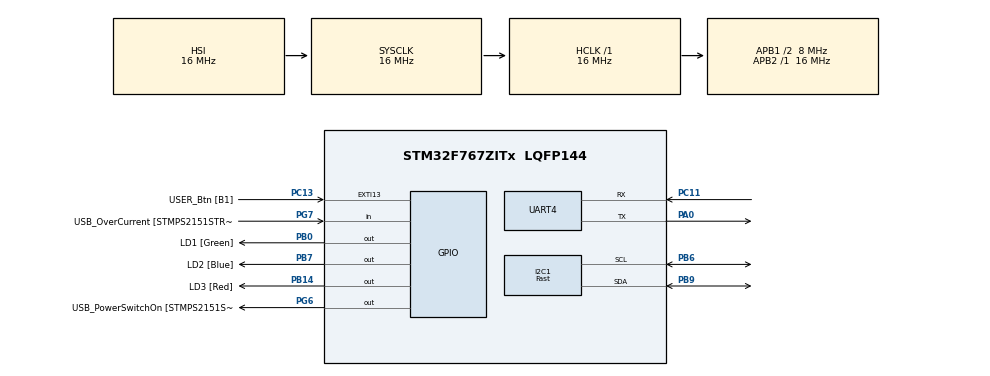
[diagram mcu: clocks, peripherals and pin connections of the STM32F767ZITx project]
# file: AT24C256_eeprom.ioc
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I2C1.I2C_Speed_Mode=I2C_Fast
I2C1.Timing=0x0000020B
Mcu.Family=STM32F7
Mcu.Name=STM32F767ZITx
Mcu.Package=LQFP144
NVIC.PriorityGroup=NVIC_PRIORITYGROUP_4
PA0/WKUP.Mode=Asynchronous
PA0/WKUP.Signal=UART4_TX
PA1.GPIO_Label=RMII_REF_CLK [LAN8742A-CZ-TR_REFCLK0]
PA1.Signal=ETH_REF_CLK
PA10.GPIO_Label=USB_ID
PA10.Signal=USB_OTG_FS_ID
PA11.GPIO_Label=USB_DM
PA11.Signal=USB_OTG_FS_DM
PA12.GPIO_Label=USB_DP
PA12.Signal=USB_OTG_FS_DP
PA13.GPIO_Label=TMS
PA13.Signal=SYS_JTMS-SWDIO
PA14.GPIO_Label=TCK
PA14.Signal=SYS_JTCK-SWCLK
PA2.GPIO_Label=RMII_MDIO [LAN8742A-CZ-TR_MDIO]
PA2.Signal=ETH_MDIO
PA7.GPIO_Label=RMII_CRS_DV [LAN8742A-CZ-TR_CRS_DV]
PA7.Signal=ETH_CRS_DV
PA8.GPIO_Label=USB_SOF [TP1]
PA8.Signal=USB_OTG_FS_SOF
PA9.GPIO_Label=USB_VBUS
PA9.Signal=USB_OTG_FS_VBUS
PB0.GPIO_Label=LD1 [Green]
PB0.Signal=GPIO_Output
PB13.GPIO_Label=RMII_TXD1 [LAN8742A-CZ-TR_TXD1]
PB13.Signal=ETH_TXD1
PB14.GPIO_Label=LD3 [Red]
PB14.Signal=GPIO_Output
PB3.GPIO_Label=SW0
PB3.Signal=SYS_JTDO-SWO
PB6.Mode=I2C
PB6.Signal=I2C1_SCL
PB7.GPIO_Label=LD2 [Blue]
PB7.Signal=GPIO_Output
PB9.Mode=I2C
PB9.Signal=I2C1_SDA
PC1.GPIO_Label=RMII_MDC [LAN8742A-CZ-TR_MDC]
PC1.Signal=ETH_MDC
PC11.Mode=Asynchronous
PC11.Signal=UART4_RX
PC13.GPIO_Label=USER_Btn [B1]
PC13.Signal=GPXTI13
PC14/OSC32_IN.Signal=RCC_OSC32_IN
PC15/OSC32_OUT.Signal=RCC_OSC32_OUT
PC4.GPIO_Label=RMII_RXD0 [LAN8742A-CZ-TR_RXD0]
PC4.Signal=ETH_RXD0
PC5.GPIO_Label=RMII_RXD1 [LAN8742A-CZ-TR_RXD1]
PC5.Signal=ETH_RXD1
PD8.GPIO_Label=STLK_RX [STM32F103CBT6_PA3]
PD8.Signal=USART3_TX
PD9.GPIO_Label=STLK_TX [STM32F103CBT6_PA2]
PD9.Signal=USART3_RX
PG11.GPIO_Label=RMII_TX_EN [LAN8742A-CZ-TR_TXEN]
PG11.Signal=ETH_TX_EN
PG13.GPIO_Label=RMII_TXD0 [LAN8742A-CZ-TR_TXD0]
PG13.Signal=ETH_TXD0
PG6.GPIO_Label=USB_PowerSwitchOn [STMPS2151STR_EN]
PG6.Signal=GPIO_Output
PG7.GPIO_Label=USB_OverCurrent [STMPS2151STR_FAULT]
PG7.Signal=GPIO_Input
PH0/OSC_IN.GPIO_Label=MCO [STM32F103CBT6_PA8]
PH0/OSC_IN.Mode=HSE-External-Oscillator
PH0/OSC_IN.Signal=RCC_OSC_IN
PH1/OSC_OUT.Mode=HSE-External-Oscillator
PH1/OSC_OUT.Signal=RCC_OSC_OUT
ProjectManager.HeapSize=0x200
ProjectManager.StackSize=0x400
ProjectManager.TargetToolchain=STM32CubeIDE
RCC.48MHZClocksFreq_Value=24000000
RCC.AHBFreq_Value=16000000
RCC.APB1CLKDivider=RCC_HCLK_DIV2
RCC.APB1Freq_Value=8000000
RCC.APB1TimFreq_Value=16000000
RCC.APB2Freq_Value=16000000
RCC.APB2TimFreq_Value=16000000
RCC.CortexFreq_Value=16000000
RCC.HCLKFreq_Value=16000000
RCC.HSE_VALUE=16000000
RCC.HSI_VALUE=16000000
RCC.LSE_VALUE=32768
RCC.PLLMUL=RCC_PLL_MUL9
RCC.PRESCALERUSB=RCC_USBCLKSOURCE_PLL_DIV1_5
RCC.SYSCLKFreq_VALUE=16000000
RCC.SYSCLKSourceVirtual=RCC_SYSCLKSOURCE_PLLCLK
RCC.USBFreq_Value=96000000
RCC.VCOOutputFreq_Value=192000000
board=NUCLEO-F767ZI

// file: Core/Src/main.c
/* USER CODE BEGIN Header */
/**
  ******************************************************************************
  * @file           : main.c
  * @brief          : Main program body
  ******************************************************************************
  * @attention
  *
  * Copyright (c) 2024 STMicroelectronics.
  * All rights reserved.
  *
  * This software is licensed under terms that can be found in the LICENSE file
  * in the root directory of this software component.
  * If no LICENSE file comes with this software, it is provided AS-IS.
  *
  ******************************************************************************
  */
/* USER CODE END Header */
#include "main.h"

/* USER CODE BEGIN Includes */
#include "string.h"
#include "EEPROM.h"

/* USER CODE END Includes */

I2C_HandleTypeDef hi2c1;

UART_HandleTypeDef huart4;

void SystemClock_Config(void);
static void MX_GPIO_Init(void);
static void MX_I2C1_Init(void);
static void MX_UART4_Init(void);

/* USER CODE BEGIN 0 */
#define DEV_ADDR 0xa0
uint8_t dataw1[] = "hello world from EEPROM";
uint8_t dataw2[] = "This is the second string from EEPROM";
float dataw3 = 1234.5678;

uint8_t datar1[100];
uint8_t datar2[100];
float datar3;
char float_str[10];
/* USER CODE END 0 */

int main(void)
{

  /* MCU Configuration--------------------------------------------------------*/

  /* Reset of all peripherals, Initializes the Flash interface and the Systick. */
  HAL_Init();

  /* Configure the system clock */
  SystemClock_Config();

  /* Initialize all configured peripherals */
  MX_GPIO_Init();
  MX_I2C1_Init();
  MX_UART4_Init();
  /* USER CODE BEGIN 2 */

  for (int i=0; i<512; i++)
  {
	  EEPROM_PageErase(i);
  }

  EEPROM_Write(3, 0, dataw1, strlen((char *)dataw1));

  EEPROM_Write(5, 20, dataw2, strlen((char *)dataw2));

  EEPROM_Write_NUM (6, 0, dataw3);

  EEPROM_Read(3, 0, datar1, 50);

  EEPROM_Read(5, 15, datar2, 50);

  datar3 = EEPROM_Read_NUM (6, 0);

  /* USER CODE END 2 */

  /* Infinite loop */
  /* USER CODE BEGIN WHILE */
  while (1)
  {
	HAL_Delay(1000);
	HAL_GPIO_TogglePin(GPIOB, GPIO_PIN_7);

	int8_t message[20] = "test message";
	int8_t newline[2] = "\r\n";

	HAL_UART_Transmit(&huart4, &datar1, sizeof(datar1), 200);
	HAL_UART_Transmit(&huart4, &newline, sizeof(newline), 200);

	HAL_UART_Transmit(&huart4, &datar2, sizeof(datar2), 200);
	HAL_UART_Transmit(&huart4, &newline, sizeof(newline), 200);

	HAL_UART_Transmit(&huart4, &datar3, sizeof(datar3), 200);
	HAL_UART_Transmit(&huart4, &newline, sizeof(newline), 200);

	snprintf(&float_str, sizeof(float_str), "%f\r\n", datar3);

	HAL_UART_Transmit(&huart4, &float_str, sizeof(float_str), 200);
	HAL_UART_Transmit(&huart4, &newline, sizeof(newline), 200);

    /* USER CODE END WHILE */

  }
}

void SystemClock_Config(void)
{
  RCC_OscInitTypeDef RCC_OscInitStruct = {0};
  RCC_ClkInitTypeDef RCC_ClkInitStruct = {0};

  /** Configure the main internal regulator output voltage
  */
  __HAL_RCC_PWR_CLK_ENABLE();
  __HAL_PWR_VOLTAGESCALING_CONFIG(PWR_REGULATOR_VOLTAGE_SCALE3);

  /** Initializes the RCC Oscillators according to the specified parameters
  * in the RCC_OscInitTypeDef structure.
  */
  RCC_OscInitStruct.OscillatorType = RCC_OSCILLATORTYPE_HSI;
  RCC_OscInitStruct.HSIState = RCC_HSI_ON;
  RCC_OscInitStruct.HSICalibrationValue = RCC_HSICALIBRATION_DEFAULT;
  RCC_OscInitStruct.PLL.PLLState = RCC_PLL_NONE;
  if (HAL_RCC_OscConfig(&RCC_OscInitStruct) != HAL_OK)
  {
    Error_Handler();
  }

  /** Initializes the CPU, AHB and APB buses clocks
  */
  RCC_ClkInitStruct.ClockType = RCC_CLOCKTYPE_HCLK|RCC_CLOCKTYPE_SYSCLK
                              |RCC_CLOCKTYPE_PCLK1|RCC_CLOCKTYPE_PCLK2;
  RCC_ClkInitStruct.SYSCLKSource = RCC_SYSCLKSOURCE_HSI;
  RCC_ClkInitStruct.AHBCLKDivider = RCC_SYSCLK_DIV1;
  RCC_ClkInitStruct.APB1CLKDivider = RCC_HCLK_DIV2;
  RCC_ClkInitStruct.APB2CLKDivider = RCC_HCLK_DIV1;

  if (HAL_RCC_ClockConfig(&RCC_ClkInitStruct, FLASH_LATENCY_0) != HAL_OK)
  {
    Error_Handler();
  }
}

static void MX_I2C1_Init(void)
{

  hi2c1.Instance = I2C1;
  hi2c1.Init.Timing = 0x0000020B;
  hi2c1.Init.OwnAddress1 = 0;
  hi2c1.Init.AddressingMode = I2C_ADDRESSINGMODE_7BIT;
  hi2c1.Init.DualAddressMode = I2C_DUALADDRESS_DISABLE;
  hi2c1.Init.OwnAddress2 = 0;
  hi2c1.Init.OwnAddress2Masks = I2C_OA2_NOMASK;
  hi2c1.Init.GeneralCallMode = I2C_GENERALCALL_DISABLE;
  hi2c1.Init.NoStretchMode = I2C_NOSTRETCH_DISABLE;
  if (HAL_I2C_Init(&hi2c1) != HAL_OK)
  {
    Error_Handler();
  }

  /** Configure Analogue filter
  */
  if (HAL_I2CEx_ConfigAnalogFilter(&hi2c1, I2C_ANALOGFILTER_ENABLE) != HAL_OK)
  {
    Error_Handler();
  }

  /** Configure Digital filter
  */
  if (HAL_I2CEx_ConfigDigitalFilter(&hi2c1, 0) != HAL_OK)
  {
    Error_Handler();
  }

}

static void MX_UART4_Init(void)
{

  huart4.Instance = UART4;
  huart4.Init.BaudRate = 115200;
  huart4.Init.WordLength = UART_WORDLENGTH_8B;
  huart4.Init.StopBits = UART_STOPBITS_1;
  huart4.Init.Parity = UART_PARITY_NONE;
  huart4.Init.Mode = UART_MODE_TX_RX;
  huart4.Init.HwFlowCtl = UART_HWCONTROL_NONE;
  huart4.Init.OverSampling = UART_OVERSAMPLING_16;
  huart4.Init.OneBitSampling = UART_ONE_BIT_SAMPLE_DISABLE;
  huart4.AdvancedInit.AdvFeatureInit = UART_ADVFEATURE_NO_INIT;
  if (HAL_UART_Init(&huart4) != HAL_OK)
  {
    Error_Handler();
  }

}

static void MX_GPIO_Init(void)
{
  GPIO_InitTypeDef GPIO_InitStruct = {0};

  /* GPIO Ports Clock Enable */
  __HAL_RCC_GPIOC_CLK_ENABLE();
  __HAL_RCC_GPIOH_CLK_ENABLE();
  __HAL_RCC_GPIOA_CLK_ENABLE();
  __HAL_RCC_GPIOB_CLK_ENABLE();
  __HAL_RCC_GPIOD_CLK_ENABLE();
  __HAL_RCC_GPIOG_CLK_ENABLE();

  /*Configure GPIO pin Output Level */
  HAL_GPIO_WritePin(GPIOB, LD1_Pin|LD3_Pin|LD2_Pin, GPIO_PIN_RESET);

  /*Configure GPIO pin Output Level */
  HAL_GPIO_WritePin(USB_PowerSwitchOn_GPIO_Port, USB_PowerSwitchOn_Pin, GPIO_PIN_RESET);

  /*Configure GPIO pin : USER_Btn_Pin */
  GPIO_InitStruct.Pin = USER_Btn_Pin;
  GPIO_InitStruct.Mode = GPIO_MODE_IT_RISING;
  GPIO_InitStruct.Pull = GPIO_NOPULL;
  HAL_GPIO_Init(USER_Btn_GPIO_Port, &GPIO_InitStruct);

  /*Configure GPIO pins : RMII_MDC_Pin RMII_RXD0_Pin RMII_RXD1_Pin */
  GPIO_InitStruct.Pin = RMII_MDC_Pin|RMII_RXD0_Pin|RMII_RXD1_Pin;
  GPIO_InitStruct.Mode = GPIO_MODE_AF_PP;
  GPIO_InitStruct.Pull = GPIO_NOPULL;
  GPIO_InitStruct.Speed = GPIO_SPEED_FREQ_VERY_HIGH;
  GPIO_InitStruct.Alternate = GPIO_AF11_ETH;
  HAL_GPIO_Init(GPIOC, &GPIO_InitStruct);

  /*Configure GPIO pins : RMII_REF_CLK_Pin RMII_MDIO_Pin RMII_CRS_DV_Pin */
  GPIO_InitStruct.Pin = RMII_REF_CLK_Pin|RMII_MDIO_Pin|RMII_CRS_DV_Pin;
  GPIO_InitStruct.Mode = GPIO_MODE_AF_PP;
  GPIO_InitStruct.Pull = GPIO_NOPULL;
  GPIO_InitStruct.Speed = GPIO_SPEED_FREQ_VERY_HIGH;
  GPIO_InitStruct.Alternate = GPIO_AF11_ETH;
  HAL_GPIO_Init(GPIOA, &GPIO_InitStruct);

  /*Configure GPIO pins : LD1_Pin LD3_Pin LD2_Pin */
  GPIO_InitStruct.Pin = LD1_Pin|LD3_Pin|LD2_Pin;
  GPIO_InitStruct.Mode = GPIO_MODE_OUTPUT_PP;
  GPIO_InitStruct.Pull = GPIO_NOPULL;
  GPIO_InitStruct.Speed = GPIO_SPEED_FREQ_LOW;
  HAL_GPIO_Init(GPIOB, &GPIO_InitStruct);

  /*Configure GPIO pin : RMII_TXD1_Pin */
  GPIO_InitStruct.Pin = RMII_TXD1_Pin;
  GPIO_InitStruct.Mode = GPIO_MODE_AF_PP;
  GPIO_InitStruct.Pull = GPIO_NOPULL;
  GPIO_InitStruct.Speed = GPIO_SPEED_FREQ_VERY_HIGH;
  GPIO_InitStruct.Alternate = GPIO_AF11_ETH;
  HAL_GPIO_Init(RMII_TXD1_GPIO_Port, &GPIO_InitStruct);

  /*Configure GPIO pins : STLK_RX_Pin STLK_TX_Pin */
  GPIO_InitStruct.Pin = STLK_RX_Pin|STLK_TX_Pin;
  GPIO_InitStruct.Mode = GPIO_MODE_AF_PP;
  GPIO_InitStruct.Pull = GPIO_NOPULL;
  GPIO_InitStruct.Speed = GPIO_SPEED_FREQ_VERY_HIGH;
  GPIO_InitStruct.Alternate = GPIO_AF7_USART3;
  HAL_GPIO_Init(GPIOD, &GPIO_InitStruct);

  /*Configure GPIO pin : USB_PowerSwitchOn_Pin */
  GPIO_InitStruct.Pin = USB_PowerSwitchOn_Pin;
  GPIO_InitStruct.Mode = GPIO_MODE_OUTPUT_PP;
  GPIO_InitStruct.Pull = GPIO_NOPULL;
  GPIO_InitStruct.Speed = GPIO_SPEED_FREQ_LOW;
  HAL_GPIO_Init(USB_PowerSwitchOn_GPIO_Port, &GPIO_InitStruct);

  /*Configure GPIO pin : USB_OverCurrent_Pin */
  GPIO_InitStruct.Pin = USB_OverCurrent_Pin;
  GPIO_InitStruct.Mode = GPIO_MODE_INPUT;
  GPIO_InitStruct.Pull = GPIO_NOPULL;
  HAL_GPIO_Init(USB_OverCurrent_GPIO_Port, &GPIO_InitStruct);

  /*Configure GPIO pins : USB_SOF_Pin USB_ID_Pin USB_DM_Pin USB_DP_Pin */
  GPIO_InitStruct.Pin = USB_SOF_Pin|USB_ID_Pin|USB_DM_Pin|USB_DP_Pin;
  GPIO_InitStruct.Mode = GPIO_MODE_AF_PP;
  GPIO_InitStruct.Pull = GPIO_NOPULL;
  GPIO_InitStruct.Speed = GPIO_SPEED_FREQ_VERY_HIGH;
  GPIO_InitStruct.Alternate = GPIO_AF10_OTG_FS;
  HAL_GPIO_Init(GPIOA, &GPIO_InitStruct);

  /*Configure GPIO pin : USB_VBUS_Pin */
  GPIO_InitStruct.Pin = USB_VBUS_Pin;
  GPIO_InitStruct.Mode = GPIO_MODE_INPUT;
  GPIO_InitStruct.Pull = GPIO_NOPULL;
  HAL_GPIO_Init(USB_VBUS_GPIO_Port, &GPIO_InitStruct);

  /*Configure GPIO pins : RMII_TX_EN_Pin RMII_TXD0_Pin */
  GPIO_InitStruct.Pin = RMII_TX_EN_Pin|RMII_TXD0_Pin;
  GPIO_InitStruct.Mode = GPIO_MODE_AF_PP;
  GPIO_InitStruct.Pull = GPIO_NOPULL;
  GPIO_InitStruct.Speed = GPIO_SPEED_FREQ_VERY_HIGH;
  GPIO_InitStruct.Alternate = GPIO_AF11_ETH;
  HAL_GPIO_Init(GPIOG, &GPIO_InitStruct);

}

void Error_Handler(void)
{
  __disable_irq();
  while (1)
  {
  }
}
